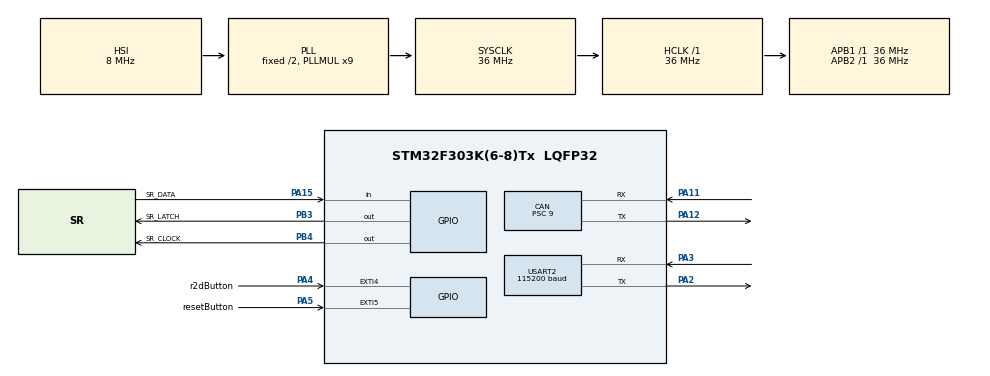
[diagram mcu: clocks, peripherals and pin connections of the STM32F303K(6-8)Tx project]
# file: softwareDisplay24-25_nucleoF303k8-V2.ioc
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CAN.BS1=CAN_BS1_3TQ
CAN.BS2=CAN_BS2_4TQ
CAN.CalculateBaudRate=500000
CAN.CalculateTimeBit=2000
CAN.CalculateTimeQuantum=250.0
CAN.Prescaler=9
Dma.Request0=USART2_TX
Dma.USART2_TX.0.Direction=DMA_MEMORY_TO_PERIPH
Dma.USART2_TX.0.Instance=DMA1_Channel7
Dma.USART2_TX.0.MemDataAlignment=DMA_MDATAALIGN_BYTE
Dma.USART2_TX.0.MemInc=DMA_MINC_ENABLE
Dma.USART2_TX.0.Mode=DMA_NORMAL
Dma.USART2_TX.0.PeriphDataAlignment=DMA_PDATAALIGN_BYTE
Dma.USART2_TX.0.PeriphInc=DMA_PINC_DISABLE
Dma.USART2_TX.0.Priority=DMA_PRIORITY_MEDIUM
Mcu.Family=STM32F3
Mcu.Name=STM32F303K(6-8)Tx
Mcu.Package=LQFP32
NVIC.CAN_RX0_IRQn=true\:0\:0\:false\:false\:true\:true\:true\:true
NVIC.DMA1_Channel7_IRQn=true\:0\:0\:false\:false\:true\:false\:true\:true
NVIC.EXTI4_IRQn=true\:0\:0\:false\:false\:true\:true\:true\:true
NVIC.EXTI9_5_IRQn=true\:0\:0\:false\:false\:true\:true\:true\:true
NVIC.PriorityGroup=NVIC_PRIORITYGROUP_4
NVIC.TIM2_IRQn=true\:0\:0\:false\:false\:true\:true\:true\:true
NVIC.TIM3_IRQn=true\:0\:0\:false\:false\:true\:true\:true\:true
NVIC.USART2_IRQn=true\:0\:0\:false\:false\:true\:true\:true\:true
PA11.Mode=CAN_Activate
PA11.Signal=CAN_RX
PA12.Mode=CAN_Activate
PA12.Signal=CAN_TX
PA13.GPIO_Label=SWDIO
PA13.Mode=Serial_Wire
PA13.Signal=SYS_JTMS-SWDIO
PA14.GPIO_Label=SWCLK
PA14.Mode=Serial_Wire
PA14.Signal=SYS_JTCK-SWCLK
PA15.GPIO_Label=SR_DATA
PA15.Signal=GPIO_Input
PA2.Mode=Asynchronous
PA2.Signal=USART2_TX
PA3.Mode=Asynchronous
PA3.Signal=USART2_RX
PA4.GPIO_Label=r2dButton
PA4.GPIO_ModeDefaultEXTI=GPIO_MODE_IT_FALLING
PA4.GPIO_PuPd=GPIO_PULLUP
PA4.Signal=GPXTI4
PA5.GPIO_Label=resetButton
PA5.GPIO_ModeDefaultEXTI=GPIO_MODE_IT_FALLING
PA5.GPIO_PuPd=GPIO_PULLUP
PA5.Signal=GPXTI5
PB3.GPIO_Label=SR_LATCH
PB3.Signal=GPIO_Output
PB4.GPIO_Label=SR_CLOCK
PB4.Signal=GPIO_Output
PF0\ /\ OSC_IN.Mode=HSE-External-Oscillator
PF0\ /\ OSC_IN.Signal=RCC_OSC_IN
PF1\ /\ OSC_OUT.Mode=HSE-External-Oscillator
PF1\ /\ OSC_OUT.Signal=RCC_OSC_OUT
ProjectManager.HeapSize=0x200
ProjectManager.StackSize=0x400
ProjectManager.TargetToolchain=STM32CubeIDE
RCC.AHBFreq_Value=36000000
RCC.APB1Freq_Value=36000000
RCC.APB1TimFreq_Value=36000000
RCC.APB2Freq_Value=36000000
RCC.APB2TimFreq_Value=36000000
RCC.CSICalibrationValue=32
RCC.CortexFreq_Value=36000000
RCC.DATA_CACHE_ENABLE=1
RCC.HCLKFreq_Value=36000000
RCC.HSE_VALUE=12000000
RCC.HSI_VALUE=8000000
RCC.INSTRUCTION_CACHE_ENABLE=1
RCC.PLL1_VCI_Range=RCC_PLL1VCIRANGE_3
RCC.PLL1_VCO_SEL=RCC_PLL1VCOWIDE
RCC.PLL2FRACN=0
RCC.PLL2_VCI_Range=RCC_PLL2VCIRANGE_3
RCC.PLL2_VCO_SEL=RCC_PLL2VCOWIDE
RCC.PLL3FRACN=0
RCC.PLL3_VCI_Range=RCC_PLL3VCIRANGE_3
RCC.PLL3_VCO_SEL=RCC_PLL3VCOWIDE
RCC.PLLFRACN=0
RCC.PLLMUL=RCC_PLL_MUL9
RCC.PWREXT_OverDrive=PWREXT_OverDrive_DESACTIVATED
RCC.PWR_Regulator_Voltage_Scale=PWR_REGULATOR_VOLTAGE_SCALE3
RCC.ProductRev=revV
RCC.RCC_TIM_PRescaler_Selection=RCC_TIMPRES_DESACTIVATED
RCC.SYSCLKFreq_VALUE=36000000
RCC.SYSCLKSourceVirtual=RCC_SYSCLKSOURCE_PLLCLK
TIM2.AutoReloadPreload=TIM_AUTORELOAD_PRELOAD_ENABLE
TIM2.Period=24999
TIM2.Prescaler=3599
TIM3.AutoReloadPreload=TIM_AUTORELOAD_PRELOAD_ENABLE
TIM3.Period=1799
TIM3.Prescaler=3599
USART2.BaudRate=115200
USART2.VirtualMode-Asynchronous=VM_ASYNC
VP_TIM2_VS_ClockSourceINT.Mode=Internal
VP_TIM3_VS_ClockSourceINT.Mode=Internal
VP_TIM3_VS_OPM.Mode=OPM_bit
board=NUCLEO-F303K8

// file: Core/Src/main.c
/* USER CODE BEGIN Header */
/**
  ******************************************************************************
  * @file           : main.c
  * @brief          : Main program body
  ******************************************************************************
  * @attention
  *
  * Copyright (c) 2025 STMicroelectronics.
  * All rights reserved.
  *
  * This software is licensed under terms that can be found in the LICENSE file
  * in the root directory of this software component.
  * If no LICENSE file comes with this software, it is provided AS-IS.
  *
  ******************************************************************************
  */
/* USER CODE END Header */
#include "main.h"
#include "can.h"
#include "dma.h"
#include "tim.h"
#include "usart.h"
#include "gpio.h"

/* USER CODE BEGIN Includes */
#include "shift_register.h"
#include <stdarg.h>
#include <stdbool.h>
#include <string.h>
/* USER CODE END Includes */

/* USER CODE BEGIN PV */
volatile uint8_t flagErroreInCorso = 0;
uint16_t ultimoErroreRicevuto = 0;
uint8_t errorValue = 0;
/* USER CODE END PV */

void SystemClock_Config(void);

/* USER CODE BEGIN 0 */

#define MAX_COMMANDS 30
#define MAX_COMMAND_LEN 80

#define COLOR_RED    63488
#define COLOR_GREEN  1856

DisplayVar vars[NData] = {
    { "SpeedValue",0, 0,1,0},
	{ "valSOC",0, 0,1,0},	//also BatteryValBar	(type1)
	{ "valTempInv",0, 0,1,0},
	{ "valTempEng",0, 0,1,0},
	{ "valTempBat",0, 0,1,0},
	{ "valTempFan",0, 0,1,0},
	{ "MapValue",0, 0,1,0},
	{ "R2DValue",0, 0,1,0}
};

uint8_t flagOk = 0;
uint8_t cmd_end[3] = {0xFF,0xFF,0xFF};

uint16_t freniData = 0;
uint16_t r2dData = 0;
uint16_t mapData = 0;

volatile uint8_t flagStartingOK = 0;
volatile uint8_t flagNewMap=0;
CAN_TxHeaderTypeDef r2dTxHeader, mapTxHeader;
CAN_FilterTypeDef can_filter;
CAN_RxHeaderTypeDef RxHeader;
uint8_t RxData[8];
uint32_t TxMailbox;

uint8_t newData = 0;
uint32_t millisFlagsInterrupt[NFlagsInterrupt];	//indica quando è stato chiamato quell'interrupt | x pulsanti
volatile uint8_t flagsUsable[NFlagsInterrupt] = {1};

typedef struct {
    char buffer[MAX_COMMAND_LEN];
    uint8_t len;
    uint8_t valid;
} Command;

Command commandQueue[MAX_COMMANDS];
volatile uint8_t queueHead = 0;
volatile uint8_t queueTail = 0;
volatile uint8_t uartBusy = 0;

void EnqueueNextionCommand(const char* format, ...) {
    char temp[MAX_COMMAND_LEN - 3];
    va_list args;
    va_start(args, format);
    vsnprintf(temp, sizeof(temp), format, args);
    va_end(args);

    Command cmd;
    memset(&cmd, 0, sizeof(Command));	//reset
    cmd.len = strlen(temp) + 3;
    memcpy(cmd.buffer, temp, strlen(temp));
    cmd.buffer[cmd.len - 3] = 0xFF;
    cmd.buffer[cmd.len - 2] = 0xFF;
    cmd.buffer[cmd.len - 1] = 0xFF;

    EnqueueCommandRaw(&cmd);
}

void EnqueueCommandRaw(Command* cmd) {
    uint8_t nextTail = (queueTail + 1) % MAX_COMMANDS;
    if (nextTail == queueHead) return; // Queue full

    commandQueue[queueTail] = *cmd;
    queueTail = nextTail;

    TrySendNextCommand();
}

void TrySendNextCommand() {
    if (uartBusy || queueHead == queueTail) return;
    uartBusy = 1;
    HAL_UART_Transmit_DMA(&huart2, (uint8_t*)commandQueue[queueHead].buffer, commandQueue[queueHead].len);
}

void HAL_UART_TxCpltCallback(UART_HandleTypeDef *huart) {
    if (huart->Instance == USART1) {
        queueHead = (queueHead + 1) % MAX_COMMANDS;
        uartBusy = 0;
        TrySendNextCommand();  // Avvia il prossimo comando
    }
}

void SetDisplayVar(uint8_t index, int value) {
    if (index >= sizeof(vars)/sizeof(vars[0])) return;
    if(index == 0 || index == 6){
        EnqueueNextionCommand("%s.txt=\"%d\"", vars[index].varName, value);
    } else{
        EnqueueNextionCommand("%s.val=%d", vars[index].varName, value);
    }
}

/* USER CODE END 0 */

int main(void)
{

  /* MCU Configuration--------------------------------------------------------*/

  /* Reset of all peripherals, Initializes the Flash interface and the Systick. */
  HAL_Init();

  /* Configure the system clock */
  SystemClock_Config();

  /* Initialize all configured peripherals */
  MX_GPIO_Init();
  MX_DMA_Init();
  MX_USART2_UART_Init();
  MX_CAN_Init();
  MX_TIM2_Init();
  MX_TIM3_Init();
  /* USER CODE BEGIN 2 */

  // Inizializza lo shift register
  SR_Init();

  char msg[60] = " ";
  int len;
  HAL_Delay(100);
  //HAL_GPIO_TogglePin(LD2_GPIO_Port,LD2_Pin);
  HAL_Delay(200);
  len = sprintf(msg, "page logoStart");
  HAL_UART_Transmit(&huart2,(uint8_t*)msg,len,HAL_MAX_DELAY);
  HAL_UART_Transmit(&huart2,cmd_end,3,HAL_MAX_DELAY); //invio comandi = esegue
  HAL_Delay(1200);	//delay
  //HAL_GPIO_TogglePin(LD2_GPIO_Port,LD2_Pin);

  uint32_t currMillis = HAL_GetTick();
  flagStartingOK = 1;
  len = sprintf(msg, "page main");
  HAL_UART_Transmit(&huart2,(uint8_t*)msg,len,HAL_MAX_DELAY);
  HAL_UART_Transmit(&huart2,cmd_end,3,HAL_MAX_DELAY); //invio comandi = esegue
  len = sprintf(msg, "vis ErrorBar1,0");
  HAL_UART_Transmit(&huart2,(uint8_t*)msg,len,HAL_MAX_DELAY);
  HAL_UART_Transmit(&huart2,cmd_end,3,HAL_MAX_DELAY); //invio comandi = esegue
  len = sprintf(msg, "vis ErrorBar2,0");
  HAL_UART_Transmit(&huart2,(uint8_t*)msg,len,HAL_MAX_DELAY);
  HAL_UART_Transmit(&huart2,cmd_end,3,HAL_MAX_DELAY); //invio comandi = esegue

  //HAL_TIM_Base_Start_IT(&htim6);

  CAN_setup();	//avvia il CAN + filtro
  /* USER CODE END 2 */

  /* Infinite loop */
  /* USER CODE BEGIN WHILE */
  while (1)
  {
	  EnqueueNextionCommand("signal.val=1");

	  for(uint8_t i = 0;i<NData;i++){
		  if(vars[i].flag == 1 || HAL_GetTick() - vars[i].lastMillis > 1000){
			  vars[i].flag=0;
			  vars[i].lastMillis = HAL_GetTick();
			  if(i==7){
				  r2dData ? EnqueueNextionCommand("R2DValue.pco=%d",COLOR_GREEN) : EnqueueNextionCommand("R2DValue.pco=%d",COLOR_RED);
				 break;
			  }
			  SetDisplayVar(i, vars[i].currentValue);
			  if(i==6){
				  MapValueCheck();
			  }
			  HAL_Delay(3);
		  }
	  }

	  for (uint8_t i=0;i<NFlagsInterrupt;i++){						//aiuta ad evitare doppio click
		  if(!flagsUsable[i]){
			  if(HAL_GetTick() - millisFlagsInterrupt[i] > 750){
					 flagsUsable[i] = 1;
			  }
		  }
	  }
    /* USER CODE END WHILE */

  }
}

void SystemClock_Config(void)
{
  RCC_OscInitTypeDef RCC_OscInitStruct = {0};
  RCC_ClkInitTypeDef RCC_ClkInitStruct = {0};

  /** Initializes the RCC Oscillators according to the specified parameters
  * in the RCC_OscInitTypeDef structure.
  */
  RCC_OscInitStruct.OscillatorType = RCC_OSCILLATORTYPE_HSI;
  RCC_OscInitStruct.HSIState = RCC_HSI_ON;
  RCC_OscInitStruct.HSICalibrationValue = RCC_HSICALIBRATION_DEFAULT;
  RCC_OscInitStruct.PLL.PLLState = RCC_PLL_ON;
  RCC_OscInitStruct.PLL.PLLSource = RCC_PLLSOURCE_HSI;
  RCC_OscInitStruct.PLL.PLLMUL = RCC_PLL_MUL9;
  if (HAL_RCC_OscConfig(&RCC_OscInitStruct) != HAL_OK)
  {
    Error_Handler();
  }

  /** Initializes the CPU, AHB and APB buses clocks
  */
  RCC_ClkInitStruct.ClockType = RCC_CLOCKTYPE_HCLK|RCC_CLOCKTYPE_SYSCLK
                              |RCC_CLOCKTYPE_PCLK1|RCC_CLOCKTYPE_PCLK2;
  RCC_ClkInitStruct.SYSCLKSource = RCC_SYSCLKSOURCE_PLLCLK;
  RCC_ClkInitStruct.AHBCLKDivider = RCC_SYSCLK_DIV1;
  RCC_ClkInitStruct.APB1CLKDivider = RCC_HCLK_DIV1;
  RCC_ClkInitStruct.APB2CLKDivider = RCC_HCLK_DIV1;

  if (HAL_RCC_ClockConfig(&RCC_ClkInitStruct, FLASH_LATENCY_1) != HAL_OK)
  {
    Error_Handler();
  }
}

/* USER CODE BEGIN 4 */

void showError(int valore){
	EnqueueNextionCommand("vis t0,1");
	EnqueueNextionCommand("vis ErrorValue,1");
	EnqueueNextionCommand("vis ErrorBar1,1");
	EnqueueNextionCommand("vis ErrorBar2,1");
	EnqueueNextionCommand("ErrorValue.txt=\"%d\"",errorValue);
}

void hideError(){
	EnqueueNextionCommand("vis t0,0");
	EnqueueNextionCommand("vis ErrorValue,0");
	EnqueueNextionCommand("vis ErrorBar1,0");
	EnqueueNextionCommand("vis ErrorBar2,0");
}

void MapValueCheck(){
	if (flagStartingOK == 1){
		char msg[35] = " ";
		int len;
		if(!flagNewMap && checkMapValue()){
			flagNewMap=1;
			EnqueueNextionCommand("page MapPopUp");
			EnqueueNextionCommand("mapValue.txt=\"%d\"",vars[6].currentValue);
			HAL_TIM_Base_Start_IT(&htim3);
		}
	}
}
void system_reset() {
	EnqueueNextionCommand("rest");
	__disable_irq(); //disable all interrupts
	NVIC_SystemReset();	//reset the microcontroller, continue to power pins
}

/* USER CODE END 4 */

void Error_Handler(void)
{
  __disable_irq();
  while (1)
  {
  }
}
